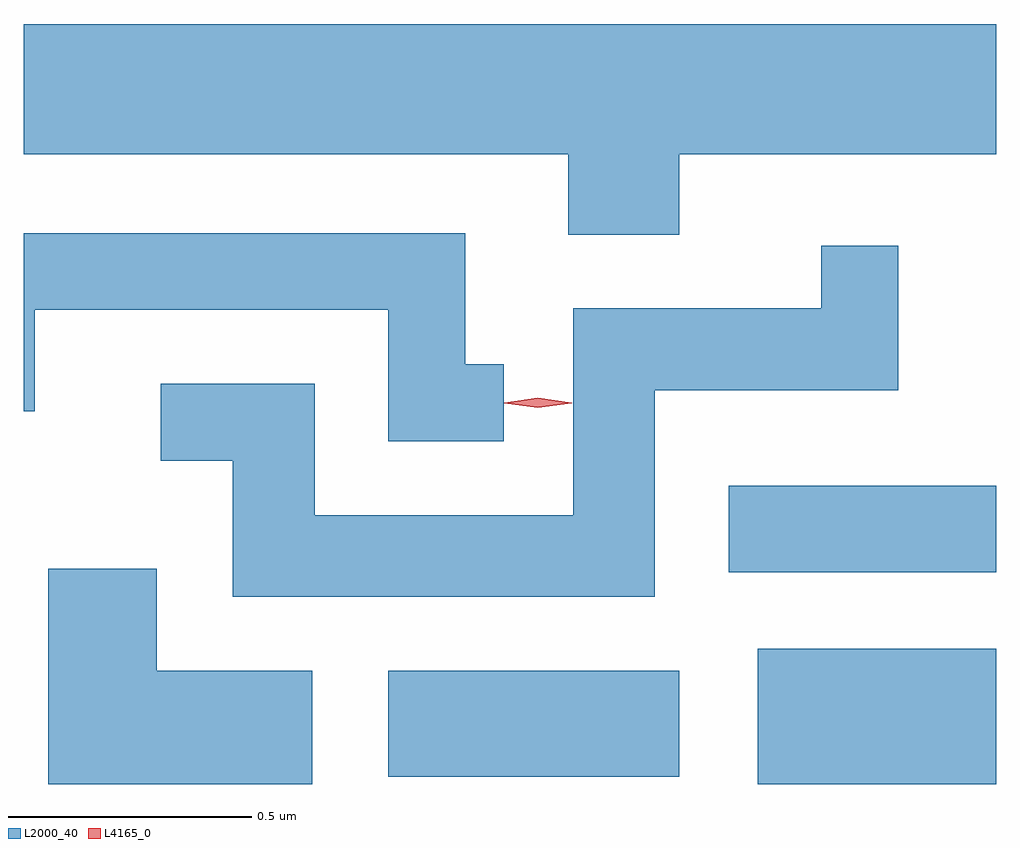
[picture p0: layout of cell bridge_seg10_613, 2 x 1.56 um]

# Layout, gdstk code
import gdstk
lib = gdstk.Library(unit=1e-6, precision=1e-09)
def R(c, l, rs):  # rectangles x0, y0, x1, y1
    for r in rs: c.add(gdstk.rectangle(r[:2], r[2:], *l))
def P(c, l, *ps):  # polygons
    for p in ps: c.add(gdstk.Polygon(p, *l))
L2000_40 = (2000, 40)
L4165_0 = (4165, 0)

bridge_seg10_613 = lib.new_cell('bridge_seg10_613')
R(bridge_seg10_613, L2000_40, [(632.321,2161.461,632.811,2161.739), (631.561,2161.476,632.159,2161.694), (632.261,2161.896,632.811,2162.074)])
P(bridge_seg10_613, L2000_40, [(632.159,2162.756),(632.811,2162.756),(632.811,2163.024),(630.811,2163.024),(630.811,2162.756),(631.931,2162.756),(631.931,2162.591),(632.159,2162.591)],
  [(631.798,2162.324),(631.719,2162.324),(631.719,2162.594),(630.811,2162.594),(630.811,2162.228),(630.834,2162.228),(630.834,2162.436),(631.561,2162.436),(631.561,2162.166),(631.798,2162.166)],
  [(632.109,2162.271),(632.609,2162.271),(632.609,2162.568),(632.451,2162.568),(632.451,2162.439),(631.941,2162.439),(631.941,2162.014),(631.409,2162.014),(631.409,2162.284),(631.093,2162.284),(631.093,2162.126),(631.241,2162.126),(631.241,2161.846),(632.109,2161.846)],
  [(631.404,2161.694),(631.084,2161.694),(631.084,2161.904),(630.861,2161.904),(630.861,2161.461),(631.404,2161.461)])
P(bridge_seg10_613, L4165_0, [(631.868,2162.235),(631.799,2162.244),(631.799,2162.245),(631.799,2162.245),(631.868,2162.255),(631.938,2162.245),(631.938,2162.245),(631.938,2162.244)])

lib.write_gds('bridge_seg10_613.gds')
